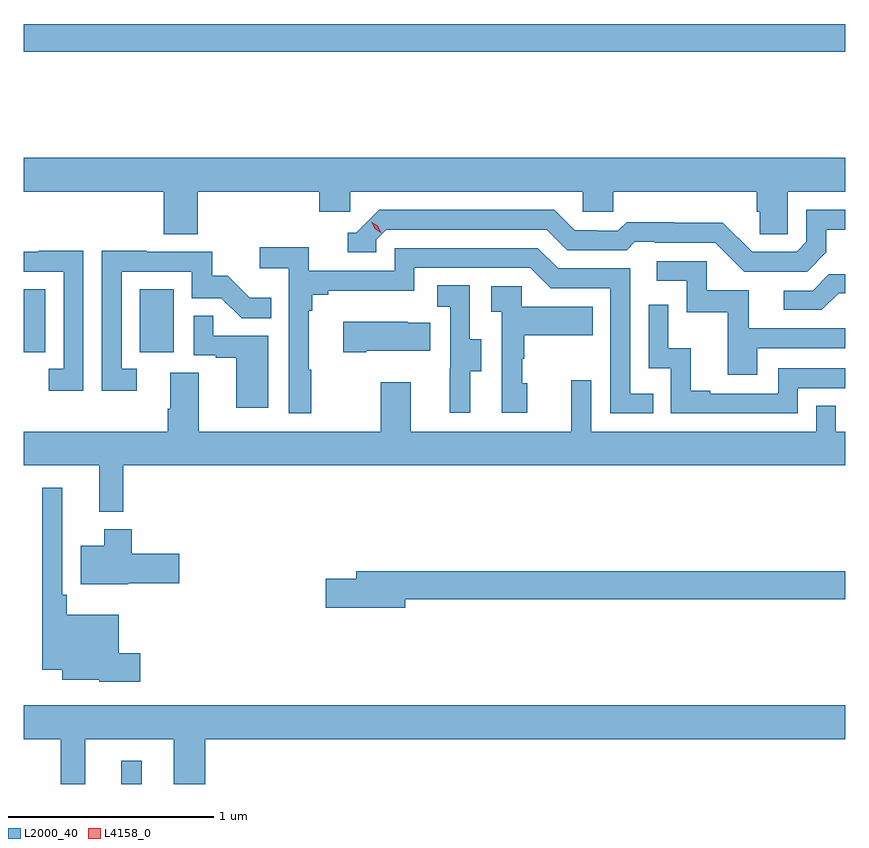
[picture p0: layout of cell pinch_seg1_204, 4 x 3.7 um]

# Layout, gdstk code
import gdstk
lib = gdstk.Library(unit=1e-6, precision=1e-09)
def R(c, l, rs):  # rectangles x0, y0, x1, y1
    for r in rs: c.add(gdstk.rectangle(r[:2], r[2:], *l))
def P(c, l, *ps):  # polygons
    for p in ps: c.add(gdstk.Polygon(p, *l))
L2000_40 = (2000, 40)
L4158_0 = (4158, 0)

pinch_seg1_204 = lib.new_cell('pinch_seg1_204')
R(pinch_seg1_204, L2000_40, [(951.332,572.825,951.43,572.938), (950.856,574.926,950.962,575.233), (951.422,574.926,951.586,575.233), (950.856,576.388,954.856,576.524)])
P(pinch_seg1_204, L2000_40, [(951.704,575.708),(952.295,575.708),(952.295,575.61),(952.446,575.61),(952.446,575.708),(953.577,575.708),(953.577,575.61),(953.727,575.61),(953.727,575.708),(954.425,575.708),(954.425,575.61),(954.439,575.61),(954.439,575.5),(954.576,575.5),(954.576,575.708),(954.856,575.708),(954.856,575.872),(950.856,575.872),(950.856,575.708),(951.539,575.708),(951.539,575.5),(951.704,575.5)],
  [(954.763,575.413),(954.763,575.523),(954.856,575.523),(954.856,575.619),(954.666,575.619),(954.666,575.463),(954.618,575.415),(954.402,575.415),(954.26,575.557),(954.024,575.557),(954.024,575.56),(953.791,575.56),(953.749,575.517),(953.646,575.517),(953.646,575.52),(953.539,575.52),(953.44,575.619),(952.587,575.619),(952.476,575.508),(952.433,575.508),(952.433,575.412),(952.572,575.412),(952.572,575.475),(952.62,575.523),(953.403,575.523),(953.502,575.424),(953.791,575.424),(953.83,575.463),(953.929,575.463),(953.929,575.46),(954.222,575.46),(954.363,575.319),(954.669,575.319)],
  [(952.255,574.841),(952.243,574.841),(952.243,575.129),(952.262,575.129),(952.262,575.206),(952.339,575.206),(952.339,575.225),(952.758,575.225),(952.758,575.337),(953.322,575.337),(953.421,575.238),(953.712,575.238),(953.712,574.629),(953.921,574.629),(953.921,574.725),(953.808,574.725),(953.808,575.334),(953.458,575.334),(953.359,575.433),(952.662,575.433),(952.662,575.322),(952.244,575.322),(952.244,575.438),(952.005,575.438),(952.005,575.336),(952.146,575.336),(952.146,574.629),(952.255,574.629)],
  [(951.406,574.845),(951.333,574.845),(951.333,575.319),(951.675,575.319),(951.675,575.19),(951.819,575.19),(951.917,575.092),(952.061,575.092),(952.061,575.191),(951.957,575.191),(951.85,575.298),(951.774,575.298),(951.774,575.415),(951.455,575.415),(951.455,575.42),(951.237,575.42),(951.237,574.74),(951.406,574.74)],
  [(951.147,575.42),(950.929,575.42),(950.929,575.415),(950.856,575.415),(950.856,575.319),(951.051,575.319),(951.051,574.845),(950.979,574.845),(950.979,574.74),(951.147,574.74)],
  [(954.427,574.947),(954.856,574.947),(954.856,575.043),(954.385,575.043),(954.385,575.229),(954.18,575.229),(954.18,575.37),(953.937,575.37),(953.937,575.274),(954.084,575.274),(954.084,575.121),(954.283,575.121),(954.283,574.818),(954.427,574.818)],
  [(954.823,575.214),(954.856,575.214),(954.856,575.306),(954.776,575.306),(954.696,575.226),(954.555,575.226),(954.555,575.133),(954.742,575.133)],
  [(953.029,574.834),(953.083,574.834),(953.083,574.989),(953.028,574.989),(953.028,575.252),(952.869,575.252),(952.869,575.149),(952.932,575.149),(952.932,574.845),(952.931,574.845),(952.931,574.632),(953.029,574.632)],
  [(953.308,574.776),(953.283,574.776),(953.283,574.895),(953.293,574.895),(953.293,575.009),(953.627,575.009),(953.627,575.149),(953.28,575.149),(953.28,575.247),(953.133,575.247),(953.133,575.123),(953.184,575.123),(953.184,574.632),(953.308,574.632)],
  [(954.624,574.752),(954.856,574.752),(954.856,574.848),(954.528,574.848),(954.528,574.725),(954.199,574.725),(954.199,574.738),(954.104,574.738),(954.104,574.946),(953.994,574.946),(953.994,575.158),(953.898,575.158),(953.898,574.848),(954.006,574.848),(954.006,574.629),(954.624,574.629)],
  [(952.048,575.007),(951.779,575.007),(951.779,575.105),(951.684,575.105),(951.684,574.911),(951.791,574.911),(951.791,574.899),(951.89,574.899),(951.89,574.656),(952.048,574.656)],
  [(952.525,574.934),(952.835,574.934),(952.835,575.071),(952.727,575.071),(952.727,575.074),(952.413,575.074),(952.413,574.927),(952.525,574.927)],
  [(954.856,574.54),(954.81,574.54),(954.81,574.667),(954.714,574.667),(954.714,574.54),(953.619,574.54),(953.619,574.789),(953.522,574.789),(953.522,574.54),(952.741,574.54),(952.741,574.78),(952.594,574.78),(952.594,574.54),(951.709,574.54),(951.709,574.826),(951.569,574.826),(951.569,574.652),(951.557,574.652),(951.557,574.54),(950.856,574.54),(950.856,574.376),(951.224,574.376),(951.224,574.151),(951.341,574.151),(951.341,574.376),(954.856,574.376)],
  [(951.424,573.462),(951.319,573.462),(951.319,573.649),(951.065,573.649),(951.065,573.745),(951.045,573.745),(951.045,574.267),(950.948,574.267),(950.948,573.38),(951.044,573.38),(951.044,573.332),(951.225,573.332),(951.225,573.323),(951.424,573.323)],
  [(951.366,573.803),(951.613,573.803),(951.613,573.945),(951.383,573.945),(951.383,574.066),(951.248,574.066),(951.248,573.985),(951.134,573.985),(951.134,573.797),(951.366,573.797)],
  [(952.714,573.724),(954.856,573.724),(954.856,573.86),(952.475,573.86),(952.475,573.824),(952.326,573.824),(952.326,573.682),(952.714,573.682)],
  [(951.157,573.044),(951.587,573.044),(951.587,572.825),(951.74,572.825),(951.74,573.044),(954.856,573.044),(954.856,573.208),(950.856,573.208),(950.856,573.044),(951.036,573.044),(951.036,572.825),(951.157,572.825)])
P(pinch_seg1_204, L4158_0, [(952.595,575.508),(952.565,575.528),(952.549,575.561),(952.549,575.562),(952.549,575.562),(952.58,575.542),(952.596,575.509),(952.596,575.508)])

lib.write_gds('pinch_seg1_204.gds')
